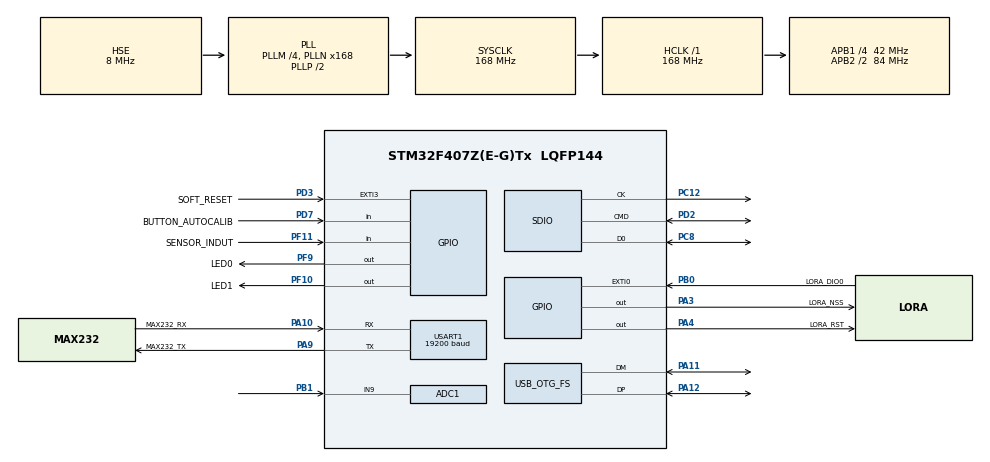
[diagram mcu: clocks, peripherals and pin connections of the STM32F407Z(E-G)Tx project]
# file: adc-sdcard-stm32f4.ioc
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Mcu.Family=STM32F4
USB_DEVICE.CLASS_NAME_FS=CDC
PH0-OSC_IN.Signal=RCC_OSC_IN
RCC.CortexFreq_Value=168000000
FATFS._USE_LFN=1
PD3.GPIO_ModeDefaultEXTI=GPIO_MODE_IT_RISING
ADC1.ContinuousConvMode=ENABLE
VP_FATFS_VS_SDIO.Mode=SDIO
PA10.GPIO_PuPd=GPIO_NOPULL
USART1.BaudRate=19200
PC12.Signal=SDIO_CK
VP_IWDG_VS_IWDG.Mode=IWDG_Activate
NVIC.EXTI3_IRQn=true\:0\:0\:false\:false\:true\:true\:true
VP_RTC_VS_RTC_Activate.Mode=RTC_Enabled
PA11.Mode=Device_Only
PA6.GPIO_Label=LORA_MISO
PB0.GPIO_Label=LORA_DIO0
PB6.GPIO_Label=IMU_SCL
USB_DEVICE.VirtualMode-CDC_FS=Cdc
PD2.GPIO_Mode=GPIO_MODE_AF_PP
PB11.Signal=USART3_RX
RCC.SYSCLKSource=RCC_SYSCLKSOURCE_PLLCLK
ProjectManager.StackSize=0x4000
PA9.GPIO_ModeDefaultPP=GPIO_MODE_AF_PP
PA12.Signal=USB_OTG_FS_DP
FATFS._MAX_LFN=50
PD7.GPIO_PuPd=GPIO_PULLUP
RCC.RCC_RTC_Clock_Source=RCC_RTCCLKSOURCE_LSE
PF11.GPIO_PuPd=GPIO_PULLDOWN
RCC.HCLKFreq_Value=168000000
RCC.APB2TimFreq_Value=168000000
PB6.Signal=I2C1_SCL
PF11.GPIO_Label=SENSOR_INDUT
PD0.Signal=CAN1_RX
PA10.GPIO_ModeDefaultPP=GPIO_MODE_AF_PP
PF10.GPIO_Label=LED1
RCC.AHBFreq_Value=168000000
PH0-OSC_IN.Mode=HSE-External-Oscillator
RCC.HSE_VALUE=8000000
ADC1.ScanConvMode=ENABLE
PC14-OSC32_IN.Mode=LSE-External-Oscillator
PA14.Mode=Serial_Wire
PF11.Signal=GPIO_Input
PA10.GPIO_Label=MAX232_RX
PB7.Signal=I2C1_SDA
PD7.GPIO_Label=BUTTON_AUTOCALIB
PH1-OSC_OUT.Mode=HSE-External-Oscillator
PB7.GPIO_Label=IMU_SDA
Mcu.Package=LQFP144
PB1.Signal=ADCx_IN9
PA6.Signal=SPI1_MISO
NVIC.OTG_FS_IRQn=true\:0\:0\:false\:false\:true\:false\:true
IWDG.Reload=2999
PA10.Signal=USART1_RX
USB_OTG_FS.VirtualMode=Device_Only
SH.ADCx_IN9.0=ADC1_IN9,IN9
RCC.APB2CLKDivider=RCC_HCLK_DIV2
RCC.APB1TimFreq_Value=84000000
PD3.GPIO_Label=SOFT_RESET
PC12.GPIO_PuPd=GPIO_PULLUP
PD3.GPIO_PuPd=GPIO_PULLUP
NVIC.USART1_IRQn=true\:0\:0\:false\:false\:true\:true\:true
PA4.GPIO_Label=LORA_RST
PA3.Signal=GPIO_Output
PC8.GPIO_Mode=GPIO_MODE_AF_PP
PC15-OSC32_OUT.Mode=LSE-External-Oscillator
PA10.Mode=Asynchronous
PD2.GPIO_PuPd=GPIO_PULLUP
USB_DEVICE.VirtualModeFS=Cdc_FS
PA9.GPIO_Label=MAX232_TX
PD3.Signal=GPXTI3
PC8.Signal=SDIO_D0
PB11.GPIO_Label=GPS_RX
PD7.Signal=GPIO_Input
RCC.APB1CLKDivider=RCC_HCLK_DIV4
PC14-OSC32_IN.Signal=RCC_OSC32_IN
PA9.GPIO_PuPd=GPIO_NOPULL
PA13.Signal=SYS_JTMS-SWDIO
PA9.Mode=Asynchronous
ProjectManager.TargetToolchain=STM32CubeIDE
PB10.GPIO_Label=GPS_TX
VP_USB_DEVICE_VS_USB_DEVICE_CDC_FS.Mode=CDC_FS
PA9.Signal=USART1_TX
ADC1.Channel-1\#ChannelRegularConversion=ADC_CHANNEL_9
PF9.GPIO_Label=LED0
SDIO.ClockDiv=0
PC15-OSC32_OUT.Signal=RCC_OSC32_OUT
PB10.Signal=USART3_TX
PD2.Mode=SD_1_bit
PA5.Signal=SPI1_SCK
PC12.Mode=SD_1_bit
board=custom
RCC.VCOOutputFreq_Value=336000000
RCC.APB2Freq_Value=84000000
PF10.Signal=GPIO_Output
PH1-OSC_OUT.Signal=RCC_OSC_OUT
RCC.RCC_RTC_Clock_SourceVirtual=RCC_RTCCLKSOURCE_LSE
PA13.Mode=Serial_Wire
Mcu.Name=STM32F407Z(E-G)Tx
FATFS._MAX_SS=4096
PC8.Mode=SD_1_bit
PC12.GPIO_Speed_High_Default=GPIO_SPEED_FREQ_HIGH
RCC.48MHZClocksFreq_Value=48000000
PC8.GPIO_Speed_High_Default=GPIO_SPEED_FREQ_HIGH
PC8.GPIO_PuPd=GPIO_PULLUP
NVIC.EXTI0_IRQn=true\:0\:0\:false\:false\:true\:true\:true
PA4.Signal=GPIO_Output
ADC1.SamplingTime-1\#ChannelRegularConversion=ADC_SAMPLETIME_3CYCLES
RCC.SYSCLKFreq_VALUE=168000000
PC12.GPIO_Mode=GPIO_MODE_AF_PP
PA7.GPIO_Label=LORA_MOSI
ADC1.master=1
PA12.Mode=Device_Only
PA5.GPIO_Label=LORA_SCK
USART1.VirtualMode=VM_ASYNC
ADC1.Rank-1\#ChannelRegularConversion=1
PA11.Signal=USB_OTG_FS_DM
PA14.Signal=SYS_JTCK-SWCLK
RTC.HourFormat=RTC_HOURFORMAT_24
ProjectManager.HeapSize=0x2000
PF9.Signal=GPIO_Output
RCC.HSI_VALUE=16000000
PA5.GPIO_Speed=GPIO_SPEED_FREQ_HIGH
RCC.PLLQ=7
NVIC.PriorityGroup=NVIC_PRIORITYGROUP_4
ADC1.NbrOfConversionFlag=1
RCC.PLLM=4
RCC.PLLN=168
IWDG.Prescaler=IWDG_PRESCALER_128
PD2.Signal=SDIO_CMD
PD2.GPIO_Speed_High_Default=GPIO_SPEED_FREQ_HIGH
RCC.APB1Freq_Value=42000000
PB0.Signal=GPXTI0
PA3.GPIO_Label=LORA_NSS
PA7.Signal=SPI1_MOSI

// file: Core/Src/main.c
/* USER CODE BEGIN Header */
/**
  ******************************************************************************
  * @file           : main.c
  * @brief          : Main program body
  ******************************************************************************
  * @attention
  *
  * <h2><center>&copy; Copyright (c) 2021 STMicroelectronics.
  * All rights reserved.</center></h2>
  *
  * This software component is licensed by ST under Ultimate Liberty license
  * SLA0044, the "License"; You may not use this file except in compliance with
  * the License. You may obtain a copy of the License at:
  *                             www.st.com/SLA0044
  *
  ******************************************************************************
  */
/* USER CODE END Header */
#include "main.h"
#include "fatfs.h"
#include "usb_device.h"

/* USER CODE BEGIN Includes */
#include <stdio.h>
#include "usbd_cdc_if.h"
//#include "Application.h"
/* USER CODE END Includes */

/* USER CODE BEGIN PD */
#define RTC_KEY 0xddd5 // PARA REPROGRAMAR O RTC, BASTA MUDAR ESSA CHAVE
uint8_t day = 24, month = RTC_MONTH_AUGUST, year = 21, weekday = RTC_WEEKDAY_TUESDAY;
uint8_t hours= 9, minutes = 43, seconds = 30;
/* USER CODE END PD */

ADC_HandleTypeDef hadc1;

IWDG_HandleTypeDef hiwdg;

RTC_HandleTypeDef hrtc;

SD_HandleTypeDef hsd;

UART_HandleTypeDef huart1;

/* USER CODE BEGIN PV */
extern void Run();
/* USER CODE END PV */

void SystemClock_Config(void);
static void MX_GPIO_Init(void);
static void MX_ADC1_Init(void);
static void MX_SDIO_SD_Init(void);
static void MX_USART1_UART_Init(void);
static void MX_RTC_Init(void);
static void MX_IWDG_Init(void);

/* USER CODE BEGIN 0 */
int _write(int fd, char *ptr, int len) {
//	HAL_UART_Transmit(&huart1, (uint8_t*) ptr, len, HAL_MAX_DELAY);
	CDC_Transmit_FS((uint8_t*) ptr, len);
	return len;
}
/* USER CODE END 0 */

int main(void)
{

  /* MCU Configuration--------------------------------------------------------*/

  /* Reset of all peripherals, Initializes the Flash interface and the Systick. */
  HAL_Init();

  /* Configure the system clock */
  SystemClock_Config();

  /* Initialize all configured peripherals */
  MX_GPIO_Init();
  MX_ADC1_Init();
  MX_SDIO_SD_Init();
  MX_USART1_UART_Init();
  MX_RTC_Init();
  MX_USB_DEVICE_Init();
  MX_FATFS_Init();
  MX_IWDG_Init();
  /* USER CODE BEGIN 2 */
  HAL_Delay(2500);

  RTC_DateTypeDef date;
  RTC_TimeTypeDef time;

  if(HAL_RTCEx_BKUPRead(&hrtc, RTC_BKP_DR0) != RTC_KEY){
  	  HAL_RTCEx_BKUPWrite(&hrtc, RTC_BKP_DR0, RTC_KEY);
  	  time.Hours = hours;
  	  time.Minutes = minutes;
  	  time.Seconds = seconds;
  	  time.DayLightSaving = RTC_DAYLIGHTSAVING_NONE;
  	  time.StoreOperation = RTC_STOREOPERATION_RESET;
  	  if (HAL_RTC_SetTime(&hrtc, &time, RTC_FORMAT_BIN) != HAL_OK)
  	  {
  		  printf("Definicao da hora falhou.\r\n");
  	  }
  	  date.WeekDay = weekday;
  	  date.Month = month;
  	  date.Date = day;
  	  date.Year = year;

  	  if (HAL_RTC_SetDate(&hrtc, &date, RTC_FORMAT_BIN) != HAL_OK)
  	  {
  		  printf("Definicao da data falhou.\r\n");
  	  }
  	  printf("Memoria RTC definida com sucesso\r\n");
    } else {
  	  printf("RTC lido com sucesso\r\n");
    }
    printf("Firmware adc-abdi. Ultima atualizacao: %d-%d-%d\r\n", day, month,
    		  year);
    Run();
  /* USER CODE END 2 */

  /* Infinite loop */
  while (1)
  {

  }
}

void SystemClock_Config(void)
{
  RCC_OscInitTypeDef RCC_OscInitStruct = {0};
  RCC_ClkInitTypeDef RCC_ClkInitStruct = {0};
  RCC_PeriphCLKInitTypeDef PeriphClkInitStruct = {0};

  /** Configure the main internal regulator output voltage
  */
  __HAL_RCC_PWR_CLK_ENABLE();
  __HAL_PWR_VOLTAGESCALING_CONFIG(PWR_REGULATOR_VOLTAGE_SCALE1);
  /** Initializes the RCC Oscillators according to the specified parameters
  * in the RCC_OscInitTypeDef structure.
  */
  RCC_OscInitStruct.OscillatorType = RCC_OSCILLATORTYPE_LSI|RCC_OSCILLATORTYPE_HSE
                              |RCC_OSCILLATORTYPE_LSE;
  RCC_OscInitStruct.HSEState = RCC_HSE_ON;
  RCC_OscInitStruct.LSEState = RCC_LSE_ON;
  RCC_OscInitStruct.LSIState = RCC_LSI_ON;
  RCC_OscInitStruct.PLL.PLLState = RCC_PLL_ON;
  RCC_OscInitStruct.PLL.PLLSource = RCC_PLLSOURCE_HSE;
  RCC_OscInitStruct.PLL.PLLM = 4;
  RCC_OscInitStruct.PLL.PLLN = 168;
  RCC_OscInitStruct.PLL.PLLP = RCC_PLLP_DIV2;
  RCC_OscInitStruct.PLL.PLLQ = 7;
  if (HAL_RCC_OscConfig(&RCC_OscInitStruct) != HAL_OK)
  {
    Error_Handler();
  }
  /** Initializes the CPU, AHB and APB buses clocks
  */
  RCC_ClkInitStruct.ClockType = RCC_CLOCKTYPE_HCLK|RCC_CLOCKTYPE_SYSCLK
                              |RCC_CLOCKTYPE_PCLK1|RCC_CLOCKTYPE_PCLK2;
  RCC_ClkInitStruct.SYSCLKSource = RCC_SYSCLKSOURCE_PLLCLK;
  RCC_ClkInitStruct.AHBCLKDivider = RCC_SYSCLK_DIV1;
  RCC_ClkInitStruct.APB1CLKDivider = RCC_HCLK_DIV4;
  RCC_ClkInitStruct.APB2CLKDivider = RCC_HCLK_DIV2;

  if (HAL_RCC_ClockConfig(&RCC_ClkInitStruct, FLASH_LATENCY_5) != HAL_OK)
  {
    Error_Handler();
  }
  PeriphClkInitStruct.PeriphClockSelection = RCC_PERIPHCLK_RTC;
  PeriphClkInitStruct.RTCClockSelection = RCC_RTCCLKSOURCE_LSE;
  if (HAL_RCCEx_PeriphCLKConfig(&PeriphClkInitStruct) != HAL_OK)
  {
    Error_Handler();
  }
}

static void MX_ADC1_Init(void)
{

  ADC_ChannelConfTypeDef sConfig = {0};

  /** Configure the global features of the ADC (Clock, Resolution, Data Alignment and number of conversion)
  */
  hadc1.Instance = ADC1;
  hadc1.Init.ClockPrescaler = ADC_CLOCK_SYNC_PCLK_DIV4;
  hadc1.Init.Resolution = ADC_RESOLUTION_12B;
  hadc1.Init.ScanConvMode = ENABLE;
  hadc1.Init.ContinuousConvMode = ENABLE;
  hadc1.Init.DiscontinuousConvMode = DISABLE;
  hadc1.Init.ExternalTrigConvEdge = ADC_EXTERNALTRIGCONVEDGE_NONE;
  hadc1.Init.ExternalTrigConv = ADC_SOFTWARE_START;
  hadc1.Init.DataAlign = ADC_DATAALIGN_RIGHT;
  hadc1.Init.NbrOfConversion = 1;
  hadc1.Init.DMAContinuousRequests = DISABLE;
  hadc1.Init.EOCSelection = ADC_EOC_SINGLE_CONV;
  if (HAL_ADC_Init(&hadc1) != HAL_OK)
  {
    Error_Handler();
  }
  /** Configure for the selected ADC regular channel its corresponding rank in the sequencer and its sample time.
  */
  sConfig.Channel = ADC_CHANNEL_9;
  sConfig.Rank = 1;
  sConfig.SamplingTime = ADC_SAMPLETIME_3CYCLES;
  if (HAL_ADC_ConfigChannel(&hadc1, &sConfig) != HAL_OK)
  {
    Error_Handler();
  }

}

static void MX_IWDG_Init(void)
{

  hiwdg.Instance = IWDG;
  hiwdg.Init.Prescaler = IWDG_PRESCALER_128;
  hiwdg.Init.Reload = 2999;
  if (HAL_IWDG_Init(&hiwdg) != HAL_OK)
  {
    Error_Handler();
  }

}

static void MX_RTC_Init(void)
{

  /** Initialize RTC Only
  */
  hrtc.Instance = RTC;
  hrtc.Init.HourFormat = RTC_HOURFORMAT_24;
  hrtc.Init.AsynchPrediv = 127;
  hrtc.Init.SynchPrediv = 255;
  hrtc.Init.OutPut = RTC_OUTPUT_DISABLE;
  hrtc.Init.OutPutPolarity = RTC_OUTPUT_POLARITY_HIGH;
  hrtc.Init.OutPutType = RTC_OUTPUT_TYPE_OPENDRAIN;
  if (HAL_RTC_Init(&hrtc) != HAL_OK)
  {
    Error_Handler();
  }

}

static void MX_SDIO_SD_Init(void)
{

  hsd.Instance = SDIO;
  hsd.Init.ClockEdge = SDIO_CLOCK_EDGE_RISING;
  hsd.Init.ClockBypass = SDIO_CLOCK_BYPASS_DISABLE;
  hsd.Init.ClockPowerSave = SDIO_CLOCK_POWER_SAVE_DISABLE;
  hsd.Init.BusWide = SDIO_BUS_WIDE_1B;
  hsd.Init.HardwareFlowControl = SDIO_HARDWARE_FLOW_CONTROL_DISABLE;
  hsd.Init.ClockDiv = 0;

}

static void MX_USART1_UART_Init(void)
{

  huart1.Instance = USART1;
  huart1.Init.BaudRate = 19200;
  huart1.Init.WordLength = UART_WORDLENGTH_8B;
  huart1.Init.StopBits = UART_STOPBITS_1;
  huart1.Init.Parity = UART_PARITY_NONE;
  huart1.Init.Mode = UART_MODE_TX_RX;
  huart1.Init.HwFlowCtl = UART_HWCONTROL_NONE;
  huart1.Init.OverSampling = UART_OVERSAMPLING_16;
  if (HAL_UART_Init(&huart1) != HAL_OK)
  {
    Error_Handler();
  }

}

static void MX_GPIO_Init(void)
{
  GPIO_InitTypeDef GPIO_InitStruct = {0};

  /* GPIO Ports Clock Enable */
  __HAL_RCC_GPIOC_CLK_ENABLE();
  __HAL_RCC_GPIOF_CLK_ENABLE();
  __HAL_RCC_GPIOH_CLK_ENABLE();
  __HAL_RCC_GPIOA_CLK_ENABLE();
  __HAL_RCC_GPIOB_CLK_ENABLE();
  __HAL_RCC_GPIOD_CLK_ENABLE();

  /*Configure GPIO pin Output Level */
  HAL_GPIO_WritePin(GPIOF, LED0_Pin|LED1_Pin, GPIO_PIN_RESET);

  /*Configure GPIO pin Output Level */
  HAL_GPIO_WritePin(GPIOA, LORA_NSS_Pin|LORA_RST_Pin, GPIO_PIN_RESET);

  /*Configure GPIO pins : LED0_Pin LED1_Pin */
  GPIO_InitStruct.Pin = LED0_Pin|LED1_Pin;
  GPIO_InitStruct.Mode = GPIO_MODE_OUTPUT_PP;
  GPIO_InitStruct.Pull = GPIO_NOPULL;
  GPIO_InitStruct.Speed = GPIO_SPEED_FREQ_LOW;
  HAL_GPIO_Init(GPIOF, &GPIO_InitStruct);

  /*Configure GPIO pins : LORA_NSS_Pin LORA_RST_Pin */
  GPIO_InitStruct.Pin = LORA_NSS_Pin|LORA_RST_Pin;
  GPIO_InitStruct.Mode = GPIO_MODE_OUTPUT_PP;
  GPIO_InitStruct.Pull = GPIO_NOPULL;
  GPIO_InitStruct.Speed = GPIO_SPEED_FREQ_LOW;
  HAL_GPIO_Init(GPIOA, &GPIO_InitStruct);

  /*Configure GPIO pin : LORA_SCK_Pin */
  GPIO_InitStruct.Pin = LORA_SCK_Pin;
  GPIO_InitStruct.Mode = GPIO_MODE_AF_PP;
  GPIO_InitStruct.Pull = GPIO_NOPULL;
  GPIO_InitStruct.Speed = GPIO_SPEED_FREQ_HIGH;
  GPIO_InitStruct.Alternate = GPIO_AF5_SPI1;
  HAL_GPIO_Init(LORA_SCK_GPIO_Port, &GPIO_InitStruct);

  /*Configure GPIO pins : LORA_MISO_Pin LORA_MOSI_Pin */
  GPIO_InitStruct.Pin = LORA_MISO_Pin|LORA_MOSI_Pin;
  GPIO_InitStruct.Mode = GPIO_MODE_AF_PP;
  GPIO_InitStruct.Pull = GPIO_NOPULL;
  GPIO_InitStruct.Speed = GPIO_SPEED_FREQ_VERY_HIGH;
  GPIO_InitStruct.Alternate = GPIO_AF5_SPI1;
  HAL_GPIO_Init(GPIOA, &GPIO_InitStruct);

  /*Configure GPIO pin : LORA_DIO0_Pin */
  GPIO_InitStruct.Pin = LORA_DIO0_Pin;
  GPIO_InitStruct.Mode = GPIO_MODE_IT_RISING;
  GPIO_InitStruct.Pull = GPIO_NOPULL;
  HAL_GPIO_Init(LORA_DIO0_GPIO_Port, &GPIO_InitStruct);

  /*Configure GPIO pin : SENSOR_INDUT_Pin */
  GPIO_InitStruct.Pin = SENSOR_INDUT_Pin;
  GPIO_InitStruct.Mode = GPIO_MODE_INPUT;
  GPIO_InitStruct.Pull = GPIO_PULLDOWN;
  HAL_GPIO_Init(SENSOR_INDUT_GPIO_Port, &GPIO_InitStruct);

  /*Configure GPIO pins : GPS_TX_Pin GPS_RX_Pin */
  GPIO_InitStruct.Pin = GPS_TX_Pin|GPS_RX_Pin;
  GPIO_InitStruct.Mode = GPIO_MODE_AF_PP;
  GPIO_InitStruct.Pull = GPIO_NOPULL;
  GPIO_InitStruct.Speed = GPIO_SPEED_FREQ_VERY_HIGH;
  GPIO_InitStruct.Alternate = GPIO_AF7_USART3;
  HAL_GPIO_Init(GPIOB, &GPIO_InitStruct);

  /*Configure GPIO pin : PD0 */
  GPIO_InitStruct.Pin = GPIO_PIN_0;
  GPIO_InitStruct.Mode = GPIO_MODE_AF_PP;
  GPIO_InitStruct.Pull = GPIO_NOPULL;
  GPIO_InitStruct.Speed = GPIO_SPEED_FREQ_VERY_HIGH;
  GPIO_InitStruct.Alternate = GPIO_AF9_CAN1;
  HAL_GPIO_Init(GPIOD, &GPIO_InitStruct);

  /*Configure GPIO pin : SOFT_RESET_Pin */
  GPIO_InitStruct.Pin = SOFT_RESET_Pin;
  GPIO_InitStruct.Mode = GPIO_MODE_IT_RISING;
  GPIO_InitStruct.Pull = GPIO_PULLUP;
  HAL_GPIO_Init(SOFT_RESET_GPIO_Port, &GPIO_InitStruct);

  /*Configure GPIO pin : BUTTON_AUTOCALIB_Pin */
  GPIO_InitStruct.Pin = BUTTON_AUTOCALIB_Pin;
  GPIO_InitStruct.Mode = GPIO_MODE_INPUT;
  GPIO_InitStruct.Pull = GPIO_PULLUP;
  HAL_GPIO_Init(BUTTON_AUTOCALIB_GPIO_Port, &GPIO_InitStruct);

  /*Configure GPIO pins : IMU_SCL_Pin IMU_SDA_Pin */
  GPIO_InitStruct.Pin = IMU_SCL_Pin|IMU_SDA_Pin;
  GPIO_InitStruct.Mode = GPIO_MODE_AF_OD;
  GPIO_InitStruct.Pull = GPIO_PULLUP;
  GPIO_InitStruct.Speed = GPIO_SPEED_FREQ_VERY_HIGH;
  GPIO_InitStruct.Alternate = GPIO_AF4_I2C1;
  HAL_GPIO_Init(GPIOB, &GPIO_InitStruct);

  /* EXTI interrupt init*/
  HAL_NVIC_SetPriority(EXTI0_IRQn, 0, 0);
  HAL_NVIC_EnableIRQ(EXTI0_IRQn);

  HAL_NVIC_SetPriority(EXTI3_IRQn, 0, 0);
  HAL_NVIC_EnableIRQ(EXTI3_IRQn);

}

void Error_Handler(void)
{
  __disable_irq();
  while (1)
  {
  }
}

/************************ (C) COPYRIGHT STMicroelectronics *****END OF FILE****/
